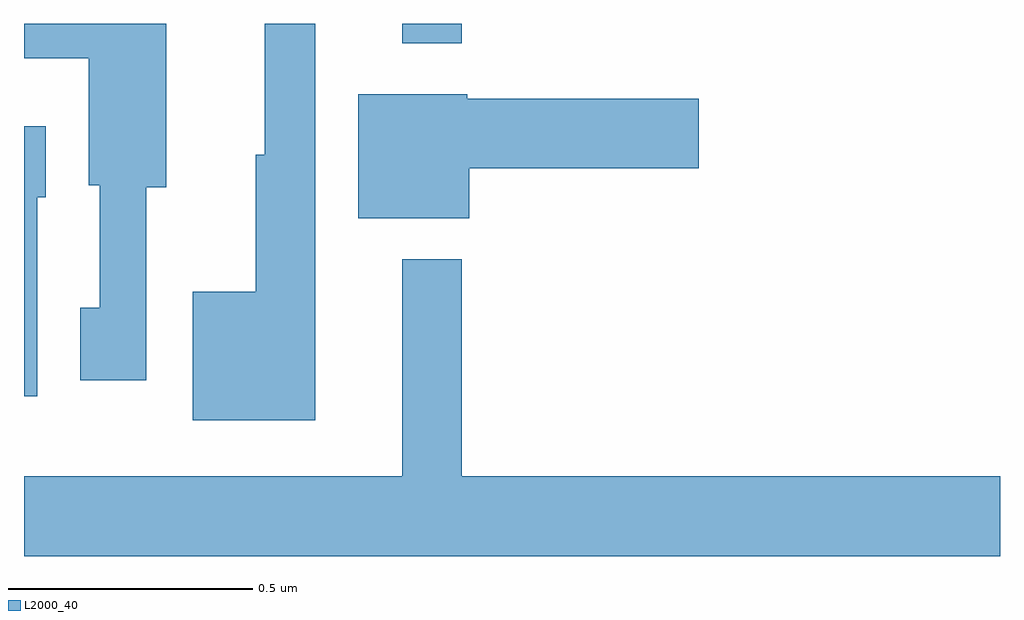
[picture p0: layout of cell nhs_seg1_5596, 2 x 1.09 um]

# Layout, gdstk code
import gdstk
lib = gdstk.Library(unit=1e-6, precision=1e-09)
def R(c, l, rs):  # rectangles x0, y0, x1, y1
    for r in rs: c.add(gdstk.rectangle(r[:2], r[2:], *l))
def P(c, l, *ps):  # polygons
    for p in ps: c.add(gdstk.Polygon(p, *l))
L2000_40 = (2000, 40)

nhs_seg1_5596 = lib.new_cell('nhs_seg1_5596')
R(nhs_seg1_5596, L2000_40, [(181.775,510.159,181.897,510.199)])
P(nhs_seg1_5596, L2000_40, [(181.597,510.199),(181.493,510.199),(181.493,509.931),(181.475,509.931),(181.475,509.65),(181.346,509.65),(181.346,509.387),(181.597,509.387)],
  [(181.251,509.864),(181.291,509.864),(181.291,510.199),(181,510.199),(181,510.128),(181.133,510.128),(181.133,509.868),(181.155,509.868),(181.155,509.617),(181.115,509.617),(181.115,509.469),(181.251,509.469)],
  [(181.912,509.903),(182.383,509.903),(182.383,510.045),(181.908,510.045),(181.908,510.055),(181.685,510.055),(181.685,509.801),(181.912,509.801)],
  [(181.027,509.844),(181.045,509.844),(181.045,509.989),(181,509.989),(181,509.436),(181.027,509.436)],
  [(183,509.272),(181.897,509.272),(181.897,509.716),(181.775,509.716),(181.775,509.272),(181,509.272),(181,509.108),(183,509.108)])

lib.write_gds('nhs_seg1_5596.gds')
